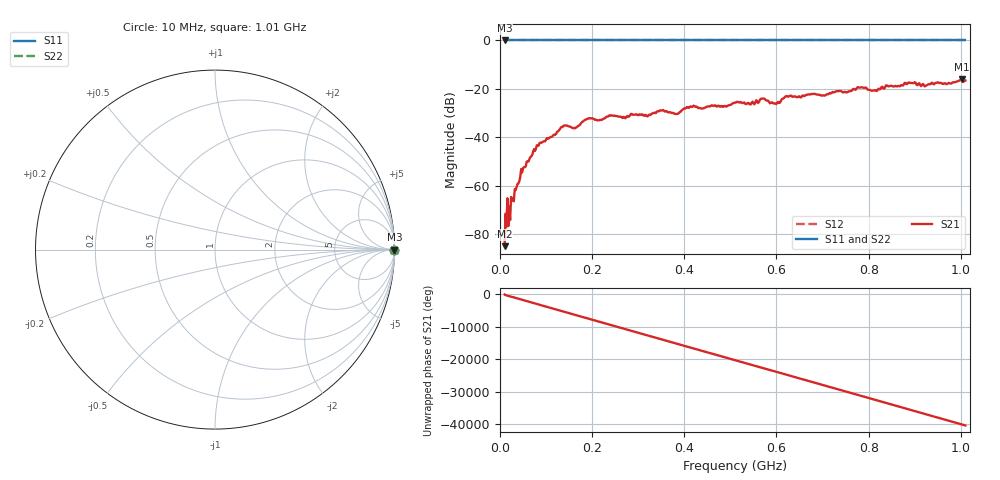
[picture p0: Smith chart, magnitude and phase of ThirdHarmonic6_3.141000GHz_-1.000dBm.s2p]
! 8/17/2025 9:22:43 AM
! C:\ANRITSUVNA\TEMP\TEMP.S2P
! CHANNEL.1
! TR.MEASUREMENT
! RAW.DATA
! RF.CORRECTION.OFF
! AVERAGING.OFF
! IF.BANDWIDTH: 5KHZ
! SWEEPTYPE:  FREQ.SWEEP(Linear)
! Reference Plane Port Info
! PORT:  PORT1  PORT2
! DISTANCE:  0  m  0  m
! TIME:  0  s  0  s
! PHASE.OFFSET:  0  deg.  0  deg.
! LOSS:  0  dB  0  dB
! REF.LOSS:  0  dB  0  dB
! REF.FREQ:  0  Hz  0  Hz
! Power Info
! POWER:  -20  dBm  -20  dBm
! EFF.POWER:  -20  dBm  -20  dBm
! SOURCE.ATTEN:  0  dB  0  dB
! TEST.ATTEN:  0  dB  0  dB
# GHZ S RI R 50.0
! FREQ.GHZ  S11RE  S11IM  S21RE  S21IM  S12RE  S12IM  S22RE  S22IM
!; PortSelection: Port_12
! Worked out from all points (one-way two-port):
!   501 points, 10 MHz to 1.01 GHz, reference 50 ohm
!   highest |S21| = -16.09 dB at 1.002 GHz (marker M1); lowest = -84.9 dB at 10 MHz (marker M2)
!   lowest |S11| = 0.0 dB at 10 MHz (marker M3)
!   |S11| at or under -10 dB: nowhere
!   |S22| runs from 0.0 to 0.0 dB; largest |S21 - S12| = 1.1
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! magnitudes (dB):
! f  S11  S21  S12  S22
! 10 MHz  0.0  -84.9  0.0  0.0
! 16 MHz  0.0  -65.2  0.0  0.0
! 18 MHz  0.0  -76.6  0.0  0.0
! 28 MHz  0.0  -66.2  0.0  0.0
! 48 MHz  0.0  -54.5  0.0  0.0
! 76 MHz  0.0  -45.6  0.0  0.0
! 136 MHz  0.0  -35.7  0.0  0.0
! 162 MHz  0.0  -36.3  0.0  0.0
! 178 MHz  0.0  -33.7  0.0  0.0
! 344 MHz  0.0  -29.3  0.0  0.0
! 384 MHz  0.0  -30.3  0.0  0.0
! 416 MHz  0.0  -27.4  0.0  0.0
! 510 MHz  0.0  -25.7  0.0  0.0
! 548 MHz  0.0  -25.3  0.0  0.0
! 570 MHz  0.0  -24.0  0.0  0.0
! 596 MHz  0.0  -25.9  0.0  0.0
! 622 MHz  0.0  -22.9  0.0  0.0
! 678 MHz  0.0  -22.1  0.0  0.0
! 814 MHz  0.0  -20.5  0.0  0.0
! 844 MHz  0.0  -18.9  0.0  0.0
! 1.002 GHz  0.0  -16.1  0.0  0.0
! 1.01 GHz  0.0  -16.5  0.0  0.0
